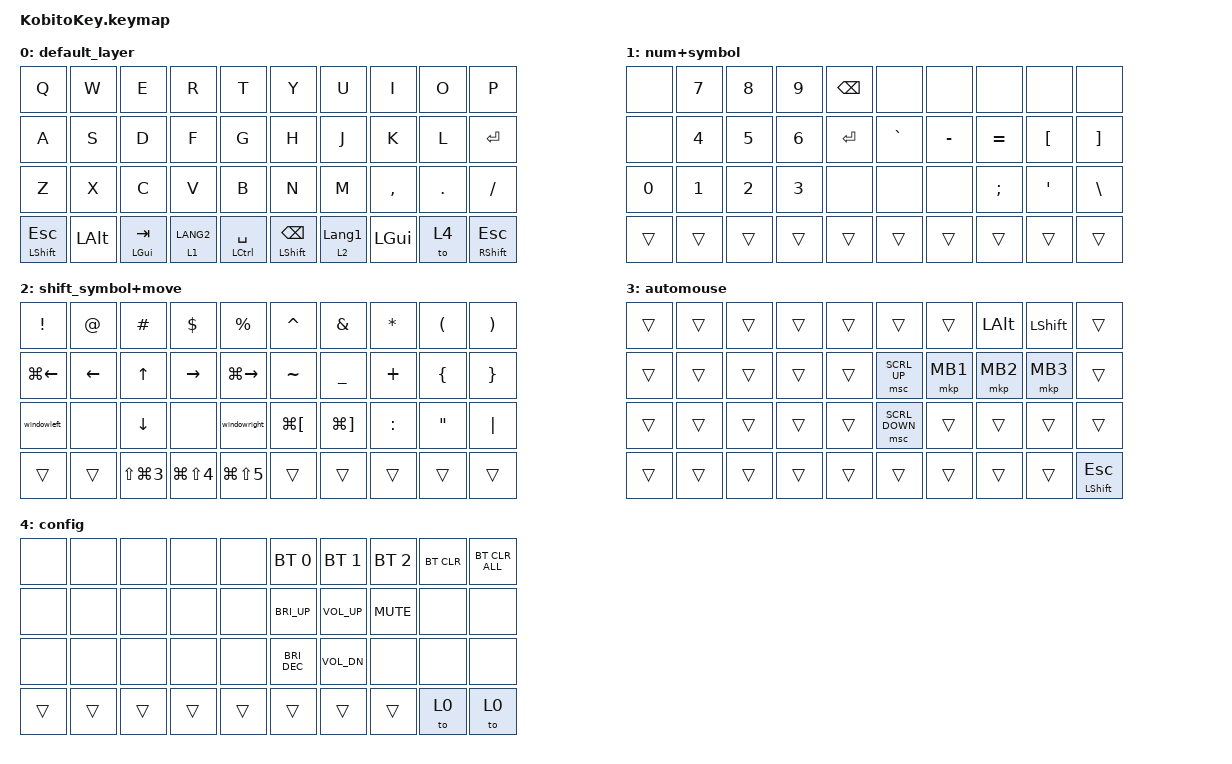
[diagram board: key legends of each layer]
#include <input/processors.dtsi>
#include <behaviors.dtsi>
#include <dt-bindings/zmk/bt.h>
#include <dt-bindings/zmk/keys.h>
#include <dt-bindings/zmk/pointing.h>

/ {
    combos {
        compatible = "zmk,combos";

        haihun {
            bindings = <&kp MINUS>;
            key-positions = <8 9>;
        };

        scroll {
            bindings = <&mo 2>;
            key-positions = <17 18>;
        };

        capslock {
            bindings = <&kp CAPSLOCK>;
            key-positions = <36 33>;
        };

        spotlight {
            bindings = <&kp LG(SPACE)>;
            key-positions = <18 19>;
        };

        change_app {
            bindings = <&kp LG(TAB)>;
            key-positions = <29 28>;
        };

        change_tab {
            bindings = <&kp LC(TAB)>;
            key-positions = <38 39>;
        };
    };

    macros {
        windowright: windowright {
            compatible = "zmk,behavior-macro";
            #binding-cells = <0>;
            bindings =
                <&macro_press>,
                <&kp GLOBE>,
                <&macro_press>,
                <&kp LEFT_CONTROL>,
                <&macro_tap>,
                <&kp RIGHT>,
                <&macro_release>,
                <&kp LEFT_CONTROL>,
                <&macro_release>,
                <&kp GLOBE>;

            label = "WINDOWRIGHT";
        };

        windowleft: windowleft {
            compatible = "zmk,behavior-macro";
            #binding-cells = <0>;
            bindings =
                <&macro_press>,
                <&kp GLOBE>,
                <&macro_press>,
                <&kp LEFT_CONTROL>,
                <&macro_tap>,
                <&kp LEFT>,
                <&macro_release>,
                <&kp LEFT_CONTROL>,
                <&macro_release>,
                <&kp GLOBE>;

            label = "WINDOWLEFT";
        };
    };

    keymap {
        compatible = "zmk,keymap";

        default_layer {
            bindings = <
&kp Q                  &kp W         &kp E             &kp R        &kp T                   &kp Y                     &kp U             &kp I         &kp O    &kp P
&kp A                  &kp S         &kp D             &kp F        &kp G                   &kp H                     &kp J             &kp K         &kp L    &kp ENTER
&kp Z                  &kp X         &kp C             &kp V        &kp B                   &kp N                     &kp M             &kp COMMA     &kp DOT  &kp SLASH
&mt LEFT_SHIFT ESCAPE  &kp LEFT_ALT  &mt LEFT_GUI TAB  &lt 1 LANG2  &mt LEFT_CONTROL SPACE  &mt LEFT_SHIFT BACKSPACE  &lt 2 LANGUAGE_1  &kp LEFT_GUI  &to 4    &mt RIGHT_SHIFT ESCAPE
            >;
        };

        num+symbol {
            bindings = <
&none   &kp N7        &kp N8        &kp N9        &kp BACKSPACE  &none      &none      &none          &none             &none
&none   &kp NUMBER_4  &kp N5        &kp NUMBER_6  &kp ENTER      &kp GRAVE  &kp MINUS  &kp EQUAL      &kp LEFT_BRACKET  &kp RIGHT_BRACKET
&kp N0  &kp NUMBER_1  &kp NUMBER_2  &kp NUMBER_3  &none          &none      &none      &kp SEMICOLON  &kp SQT           &kp BACKSLASH
&trans  &trans        &trans        &trans        &trans         &trans     &trans     &trans         &trans            &trans
            >;
        };

        shift_symbol+move {
            bindings = <
&kp EXCLAMATION     &kp AT_SIGN  &kp HASH              &kp DOLLAR            &kp PERCENT     &kp CARET             &kp AMPERSAND          &kp ASTERISK  &kp LEFT_PARENTHESIS  &kp RIGHT_PARENTHESIS
&kp LG(LEFT_ARROW)  &kp LEFT     &kp UP_ARROW          &kp RIGHT             &kp LG(RIGHT)   &kp TILDE             &kp UNDER              &kp PLUS      &kp LEFT_BRACE        &kp RIGHT_BRACE
&windowleft         &none        &kp DOWN              &none                 &windowright    &kp LG(LEFT_BRACKET)  &kp LG(RIGHT_BRACKET)  &kp COLON     &kp DOUBLE_QUOTES     &kp PIPE
&trans              &trans       &kp LS(LG(NUMBER_3))  &kp LG(LS(NUMBER_4))  &kp LG(LS(N5))  &trans                &trans                 &trans        &trans                &trans
            >;
        };

        automouse {
            bindings = <
&trans  &trans  &trans  &trans  &trans  &trans          &trans    &kp LEFT_ALT  &kp LEFT_SHIFT  &trans
&trans  &trans  &trans  &trans  &trans  &msc SCRL_UP    &mkp MB1  &mkp MB2      &mkp MB3        &trans
&trans  &trans  &trans  &trans  &trans  &msc SCRL_DOWN  &trans    &trans        &trans          &trans
&trans  &trans  &trans  &trans  &trans  &trans          &trans    &trans        &trans          &mt LEFT_SHIFT ESCAPE
            >;
        };

        config {
            bindings = <
&none   &none   &none   &none   &none   &bt BT_SEL 0   &bt BT_SEL 1     &bt BT_SEL 2  &bt BT_CLR  &bt BT_CLR_ALL
&none   &none   &none   &none   &none   &kp C_BRI_UP   &kp C_VOLUME_UP  &kp K_MUTE    &none       &none
&none   &none   &none   &none   &none   &kp C_BRI_DEC  &kp C_VOL_DN     &none         &none       &none
&trans  &trans  &trans  &trans  &trans  &trans         &trans           &trans        &to 0       &to 0
            >;
        };
    };
};
